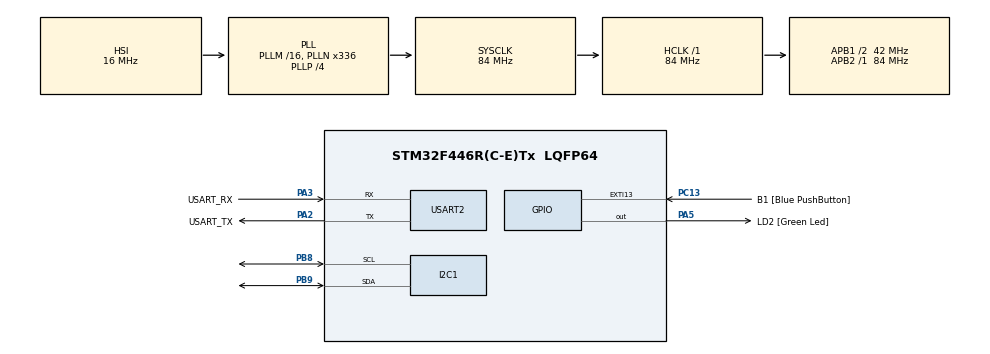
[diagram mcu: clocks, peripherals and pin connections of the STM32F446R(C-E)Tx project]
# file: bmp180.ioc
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Mcu.Family=STM32F4
Mcu.Name=STM32F446R(C-E)Tx
Mcu.Package=LQFP64
NVIC.PriorityGroup=NVIC_PRIORITYGROUP_0
PA13.GPIO_Label=TMS
PA13.Mode=Serial_Wire
PA13.Signal=SYS_JTMS-SWDIO
PA14.GPIO_Label=TCK
PA14.Mode=Serial_Wire
PA14.Signal=SYS_JTCK-SWCLK
PA2.GPIO_Label=USART_TX
PA2.Mode=Asynchronous
PA2.Signal=USART2_TX
PA3.GPIO_Label=USART_RX
PA3.Mode=Asynchronous
PA3.Signal=USART2_RX
PA5.GPIO_Label=LD2 [Green Led]
PA5.Signal=GPIO_Output
PB3.GPIO_Label=SWO
PB3.Signal=SYS_JTDO-SWO
PB8.Mode=I2C
PB8.Signal=I2C1_SCL
PB9.Mode=I2C
PB9.Signal=I2C1_SDA
PC13.GPIO_Label=B1 [Blue PushButton]
PC13.GPIO_ModeDefaultEXTI=GPIO_MODE_IT_FALLING
PC13.Signal=GPXTI13
PC14-OSC32_IN.Mode=LSE-External-Oscillator
PC14-OSC32_IN.Signal=RCC_OSC32_IN
PC15-OSC32_OUT.Mode=LSE-External-Oscillator
PC15-OSC32_OUT.Signal=RCC_OSC32_OUT
PH0-OSC_IN.Mode=HSE-External-Oscillator
PH0-OSC_IN.Signal=RCC_OSC_IN
PH1-OSC_OUT.Mode=HSE-External-Oscillator
PH1-OSC_OUT.Signal=RCC_OSC_OUT
ProjectManager.HeapSize=0x200
ProjectManager.StackSize=0x400
ProjectManager.TargetToolchain=STM32CubeIDE
RCC.48MHZClocksFreq_Value=84000000
RCC.AHBFreq_Value=84000000
RCC.APB1CLKDivider=RCC_HCLK_DIV2
RCC.APB1Freq_Value=42000000
RCC.APB1TimFreq_Value=84000000
RCC.APB2Freq_Value=84000000
RCC.APB2TimFreq_Value=84000000
RCC.CortexFreq_Value=84000000
RCC.FLatency-AdvancedSettings=FLASH_LATENCY_2
RCC.HCLKFreq_Value=84000000
RCC.HSE_VALUE=8000000
RCC.HSI_VALUE=16000000
RCC.PLLN=336
RCC.PLLP=RCC_PLLP_DIV4
RCC.SYSCLKFreq_VALUE=84000000
RCC.SYSCLKSource=RCC_SYSCLKSOURCE_PLLCLK
RCC.USBFreq_Value=168000000
RCC.VCOOutputFreq_Value=336000000
USART2.VirtualMode=VM_ASYNC
board=NUCLEO-F446RE

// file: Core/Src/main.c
/* USER CODE BEGIN Header */
/**
  ******************************************************************************
  * @file           : main.c
  * @brief          : Main program body
  ******************************************************************************
  * @attention
  *
  * Copyright (c) 2023 STMicroelectronics.
  * All rights reserved.
  *
  * This software is licensed under terms that can be found in the LICENSE file
  * in the root directory of this software component.
  * If no LICENSE file comes with this software, it is provided AS-IS.
  *
  ******************************************************************************
   * Minimal setup:
 *                                           _________
 *                                  VDD 1 --|      O  |
 *                                  GND 2 --|      _  |
 *                                 SCL1 3 --|     |_| |
 *                                 SDA1 4 --|_________|
 *
 *			Refer to datasheets for further information.
 *
*/
/* USER CODE END Header */
#include "main.h"

/* USER CODE BEGIN Includes */
#include "bmp180_for_stm32_hal.h"

#include "stdio.h"
#include "stdlib.h"
#include "string.h"
/* USER CODE END Includes */

/* USER CODE BEGIN PM */
#define p0 100955.0f
/* USER CODE END PM */

I2C_HandleTypeDef hi2c1;

UART_HandleTypeDef huart2;

void SystemClock_Config(void);
static void MX_GPIO_Init(void);
static void MX_USART2_UART_Init(void);
static void MX_I2C1_Init(void);

int main(void)
{

  /* MCU Configuration--------------------------------------------------------*/

  /* Reset of all peripherals, Initializes the Flash interface and the Systick. */
  HAL_Init();

  /* Configure the system clock */
  SystemClock_Config();

  /* Initialize all configured peripherals */
  MX_GPIO_Init();
  MX_USART2_UART_Init();
  MX_I2C1_Init();
  /* USER CODE BEGIN 2 */
  BMP180_Init(&hi2c1);
  BMP180_SetOversampling(BMP180_ULTRA);
  BMP180_UpdateCalibrationData();
  /* USER CODE END 2 */

  /* Infinite loop */
  /* USER CODE BEGIN WHILE */
  while (1)
  {
	  /* Reads temperature. */
	  		int32_t temperature = BMP180_GetRawTemperature();
	  		/* If you want a floating point number instead, you can call: */
	  		//float temperature = BMP180_GetTemperature();
	  		/* Reads pressure. */
	  		int32_t pressure = BMP180_GetPressure();
	  		char buffer[100];

	  		float T = temperature / 10.0f + 273.15f;

	  		float altitude = 44330 *(1- pow((pressure/p0), (1/5.255)) );

	  		sprintf(buffer, "Temperature: %d.%d deg C\nPressure: %d Pa\nHeight: %f m\n", (int) temperature / 10, (int) temperature % 10, (int) pressure, (float) altitude);
	  		HAL_UART_Transmit(&huart2, buffer, strlen(buffer), 1000);
	  		HAL_Delay(250);
    /* USER CODE END WHILE */

  }
}

void SystemClock_Config(void)
{
  RCC_OscInitTypeDef RCC_OscInitStruct = {0};
  RCC_ClkInitTypeDef RCC_ClkInitStruct = {0};

  /** Configure the main internal regulator output voltage
  */
  __HAL_RCC_PWR_CLK_ENABLE();
  __HAL_PWR_VOLTAGESCALING_CONFIG(PWR_REGULATOR_VOLTAGE_SCALE3);

  /** Initializes the RCC Oscillators according to the specified parameters
  * in the RCC_OscInitTypeDef structure.
  */
  RCC_OscInitStruct.OscillatorType = RCC_OSCILLATORTYPE_HSI;
  RCC_OscInitStruct.HSIState = RCC_HSI_ON;
  RCC_OscInitStruct.HSICalibrationValue = RCC_HSICALIBRATION_DEFAULT;
  RCC_OscInitStruct.PLL.PLLState = RCC_PLL_ON;
  RCC_OscInitStruct.PLL.PLLSource = RCC_PLLSOURCE_HSI;
  RCC_OscInitStruct.PLL.PLLM = 16;
  RCC_OscInitStruct.PLL.PLLN = 336;
  RCC_OscInitStruct.PLL.PLLP = RCC_PLLP_DIV4;
  RCC_OscInitStruct.PLL.PLLQ = 2;
  RCC_OscInitStruct.PLL.PLLR = 2;
  if (HAL_RCC_OscConfig(&RCC_OscInitStruct) != HAL_OK)
  {
    Error_Handler();
  }

  /** Initializes the CPU, AHB and APB buses clocks
  */
  RCC_ClkInitStruct.ClockType = RCC_CLOCKTYPE_HCLK|RCC_CLOCKTYPE_SYSCLK
                              |RCC_CLOCKTYPE_PCLK1|RCC_CLOCKTYPE_PCLK2;
  RCC_ClkInitStruct.SYSCLKSource = RCC_SYSCLKSOURCE_PLLCLK;
  RCC_ClkInitStruct.AHBCLKDivider = RCC_SYSCLK_DIV1;
  RCC_ClkInitStruct.APB1CLKDivider = RCC_HCLK_DIV2;
  RCC_ClkInitStruct.APB2CLKDivider = RCC_HCLK_DIV1;

  if (HAL_RCC_ClockConfig(&RCC_ClkInitStruct, FLASH_LATENCY_2) != HAL_OK)
  {
    Error_Handler();
  }
}

static void MX_I2C1_Init(void)
{

  hi2c1.Instance = I2C1;
  hi2c1.Init.ClockSpeed = 100000;
  hi2c1.Init.DutyCycle = I2C_DUTYCYCLE_2;
  hi2c1.Init.OwnAddress1 = 0;
  hi2c1.Init.AddressingMode = I2C_ADDRESSINGMODE_7BIT;
  hi2c1.Init.DualAddressMode = I2C_DUALADDRESS_DISABLE;
  hi2c1.Init.OwnAddress2 = 0;
  hi2c1.Init.GeneralCallMode = I2C_GENERALCALL_DISABLE;
  hi2c1.Init.NoStretchMode = I2C_NOSTRETCH_DISABLE;
  if (HAL_I2C_Init(&hi2c1) != HAL_OK)
  {
    Error_Handler();
  }

}

static void MX_USART2_UART_Init(void)
{

  huart2.Instance = USART2;
  huart2.Init.BaudRate = 115200;
  huart2.Init.WordLength = UART_WORDLENGTH_8B;
  huart2.Init.StopBits = UART_STOPBITS_1;
  huart2.Init.Parity = UART_PARITY_NONE;
  huart2.Init.Mode = UART_MODE_TX_RX;
  huart2.Init.HwFlowCtl = UART_HWCONTROL_NONE;
  huart2.Init.OverSampling = UART_OVERSAMPLING_16;
  if (HAL_UART_Init(&huart2) != HAL_OK)
  {
    Error_Handler();
  }

}

static void MX_GPIO_Init(void)
{
  GPIO_InitTypeDef GPIO_InitStruct = {0};

  /* GPIO Ports Clock Enable */
  __HAL_RCC_GPIOC_CLK_ENABLE();
  __HAL_RCC_GPIOH_CLK_ENABLE();
  __HAL_RCC_GPIOA_CLK_ENABLE();
  __HAL_RCC_GPIOB_CLK_ENABLE();

  /*Configure GPIO pin Output Level */
  HAL_GPIO_WritePin(LD2_GPIO_Port, LD2_Pin, GPIO_PIN_RESET);

  /*Configure GPIO pin : B1_Pin */
  GPIO_InitStruct.Pin = B1_Pin;
  GPIO_InitStruct.Mode = GPIO_MODE_IT_FALLING;
  GPIO_InitStruct.Pull = GPIO_NOPULL;
  HAL_GPIO_Init(B1_GPIO_Port, &GPIO_InitStruct);

  /*Configure GPIO pin : LD2_Pin */
  GPIO_InitStruct.Pin = LD2_Pin;
  GPIO_InitStruct.Mode = GPIO_MODE_OUTPUT_PP;
  GPIO_InitStruct.Pull = GPIO_NOPULL;
  GPIO_InitStruct.Speed = GPIO_SPEED_FREQ_LOW;
  HAL_GPIO_Init(LD2_GPIO_Port, &GPIO_InitStruct);

}

void Error_Handler(void)
{
  __disable_irq();
  while (1)
  {
  }
}
